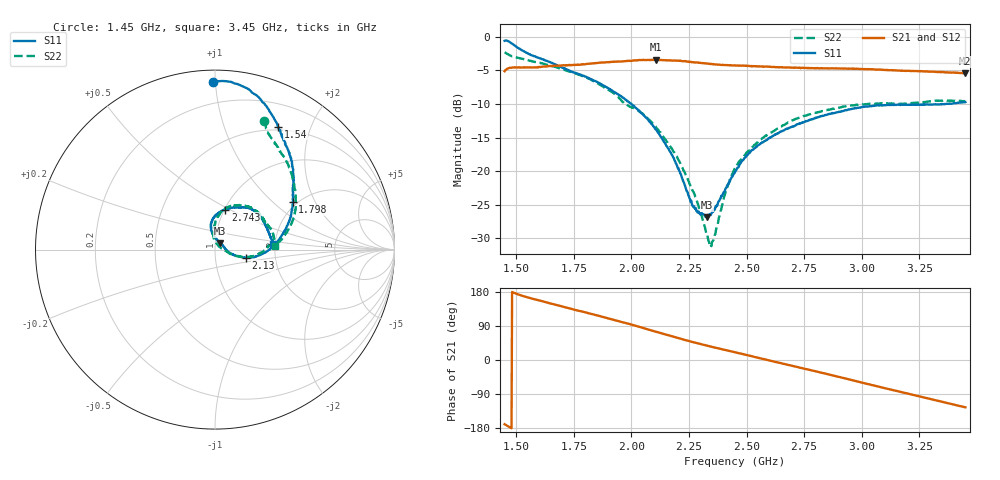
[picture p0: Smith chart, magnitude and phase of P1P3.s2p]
!Agilent Technologies,E8363B,MY43030801,A.06.04.21
!Agilent E8363B: A.06.04.21
!Date: Friday, October 24, 2025 08:32:21
!Correction: S11(Full 2 Port(1,2)) S21(Full 2 Port(1,2)) S12(Full 2 Port(1,2)) S22(Full 2 Port(1,2))
!S2P File: Measurements: S11, S21, S12, S22:
# Hz S  MA  R 50
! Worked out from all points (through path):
!   801 points, 1.45 GHz to 3.45 GHz, reference 50 ohm
!   highest |S21| = -3.39 dB at 2.107 GHz (marker M1); lowest = -5.4 dB at 3.447 GHz (marker M2)
!   lowest |S11| = -26.9 dB at 2.328 GHz (marker M3), VSWR 1.09, Z = 52.8 + j3.69 ohm
!   |S11| at or under -10 dB: 2 GHz to 3.347 GHz (1.347 GHz wide, 50.4 % of centre); 3.348506 GHz to 3.359463 GHz (10.96 MHz wide, 0.327 % of centre); 3.361752 GHz to 3.363206 GHz (1.453 MHz wide, 0.0432 % of centre)
!   |S22| runs from -31.2 to -2.3 dB; largest |S21 - S12| = 0.0083
!   S11 on the Smith chart (normalised r, x): 1.45 GHz: 0.07, +0.99; 1.54 GHz: 0.46, +1.54; 1.798 GHz: 1.90, +1.35; 2.13 GHz: 1.41, -0.13; 2.743 GHz: 1.01, +0.47; 3.45 GHz: 1.96, +0.14
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1.45e9  0.9343 90.5  0.5548 -169.5  0.5556 -169.8  0.7677 69.4
1.49e9  0.8707 72.8  0.5925 177.3  0.5932 177.2  0.7123 65.3
1.54e9  0.7694 62.9  0.5914 167.0  0.5936 167.1  0.6765 60.1
1.785e9  0.5188 33.2  0.6242 128.1  0.6236 127.8  0.5128 28.9
1.7975e9  0.5071 31.4  0.6249 126.2  0.6253 126.1  0.5044 27.1
1.955e9  0.363 8.9  0.6555 100.8  0.6569 100.5  0.3387 5.1
2.1075e9  0.2032 -12.5  0.6769 74.6  0.6731 74.4  0.2124 -10.0
2.1175e9  0.1928 -13.1  0.6737 73.0  0.673 72.5  0.2029 -11.3
2.13e9  0.1787 -14.9  0.6742 70.7  0.6712 70.5  0.1906 -12.3
2.2675e9  0.05514 7.4  0.6471 47.1  0.6495 46.9  0.0709 -10.4
2.3275e9  0.04522 50.5  0.633 38.1  0.6339 38.0  0.03303 16.2
2.355e9  0.04985 69.4  0.6273 34.0  0.6273 34.0  0.03053 59.7
2.41e9  0.0747 94.8  0.6174 26.3  0.6144 26.1  0.07056 95.7
2.45e9  0.0982 100.0  0.6126 20.6  0.6134 20.5  0.1036 95.2
2.5575e9  0.1586 96.0  0.6029 4.6  0.6007 4.7  0.1687 87.0
2.7425e9  0.2289 75.4  0.5888 -21.6  0.5881 -21.9  0.2543 70.8
2.785e9  0.2431 70.6  0.5847 -27.8  0.5867 -28.0  0.2682 66.8
2.9825e9  0.2965 51.9  0.5786 -56.7  0.5817 -57.2  0.3125 45.7
3.1175e9  0.3112 39.5  0.5647 -76.9  0.5669 -77.0  0.3198 33.2
3.29e9  0.3131 21.3  0.5499 -101.7  0.5526 -101.9  0.33 21.4
3.4475e9  0.3255 5.7  0.5353 -124.6  0.5355 -124.9  0.3305 3.9
3.45e9  0.3268 5.6  0.5367 -124.8  0.5371 -125.2  0.3326 3.7
